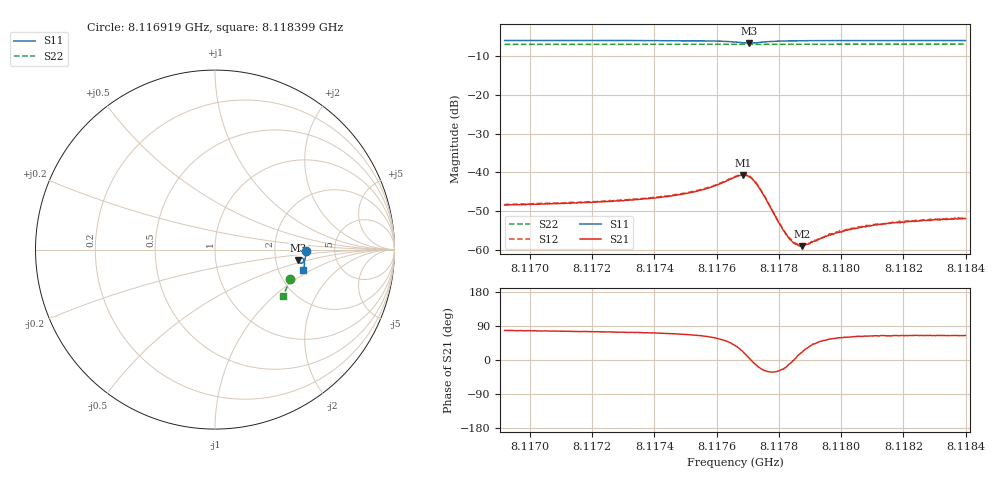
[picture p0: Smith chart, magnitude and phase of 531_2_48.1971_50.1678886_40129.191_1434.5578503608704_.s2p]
#  HZ  S  RI  R  50.00
! Rohde & Schwarz Vector Network Analyzer
! Rohde-Schwarz,ZNB20-2Port,1311601062101988,3.16
! Created: UTC 3/20/2024, 11:59:53 AM
! freq[Hz]  re:S11  im:S11  re:S21  im:S21  re:S12  im:S12  re:S22  im:S22
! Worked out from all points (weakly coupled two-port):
!   401 points, 8.116919 GHz to 8.118399 GHz, reference 50 ohm
!   highest |S21| = -40.70 dB at 8.117685 GHz (marker M1); lowest = -59.1 dB at 8.117874 GHz (marker M2)
!   lowest |S11| = -6.6 dB at 8.117704 GHz (marker M3), VSWR 2.76, Z = 134 - j20.8 ohm
!   |S11| at or under -10 dB: nowhere
!   |S22| runs from -6.9 to -6.8 dB; largest |S21 - S12| = 0.00025
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8.1169191e9  0.5065 -0.00935  0.000792 0.00368  0.000817 0.00377  0.4206 -0.163
8.117167e9  0.5054 -0.029  0.00104 0.00389  0.0011 0.00399  0.4147 -0.1794
8.1172928e9  0.5042 -0.0395  0.00123 0.00413  0.00131 0.00416  0.4114 -0.1874
8.1174149e9  0.5024 -0.0502  0.00153 0.00445  0.00163 0.00453  0.4082 -0.1955
8.1175038e9  0.4999 -0.0594  0.00205 0.00491  0.00215 0.00499  0.4054 -0.2011
8.1175593e9  0.4968 -0.0659  0.0027 0.00536  0.0028 0.00545  0.4038 -0.2048
8.1176592e9  0.4776 -0.0762  0.00677 0.00539  0.00693 0.00544  0.4 -0.2111
8.1176851e9  0.4678 -0.0702  0.00858 0.00337  0.00877 0.0034  0.3989 -0.2122
8.1177036e9  0.4647 -0.0604  0.00875 0.000901  0.00899 0.000889  0.3983 -0.2129
8.1177184e9  0.4678 -0.0524  0.0078 -0.000941  0.008 -0.00102  0.398 -0.2135
8.1177369e9  0.4755 -0.0469  0.0059 -0.00212  0.00603 -0.00218  0.3979 -0.2145
8.1178035e9  0.4944 -0.0541  0.00187 -0.000974  0.00188 -0.00102  0.3967 -0.2189
8.117822e9  0.4962 -0.0572  0.00149 -0.000537  0.00153 -0.000575  0.3962 -0.2203
8.1178405e9  0.4973 -0.0603  0.0013 -0.000142  0.00134 -0.00018  0.3957 -0.2213
8.1178516e9  0.4977 -0.0621  0.00118 5.8e-05  0.00123 6.55e-05  0.3953 -0.2221
8.1178738e9  0.4983 -0.0651  0.00104 0.00037  0.00108 0.000422  0.3946 -0.2237
8.1178923e9  0.4986 -0.0675  0.000994 0.000619  0.00101 0.000643  0.3939 -0.2249
8.1179071e9  0.4988 -0.0693  0.000953 0.0008  0.000972 0.000809  0.3936 -0.2257
8.1179922e9  0.4986 -0.0783  0.000858 0.00144  0.000939 0.00141  0.3909 -0.2313
8.1180662e9  0.4978 -0.0852  0.000899 0.00172  0.000915 0.00177  0.3884 -0.2357
8.118155e9  0.4967 -0.0926  0.000961 0.00196  0.000986 0.00199  0.3853 -0.2411
8.1183992e9  0.4927 -0.112  0.00107 0.00227  0.00111 0.00234  0.3765 -0.256
